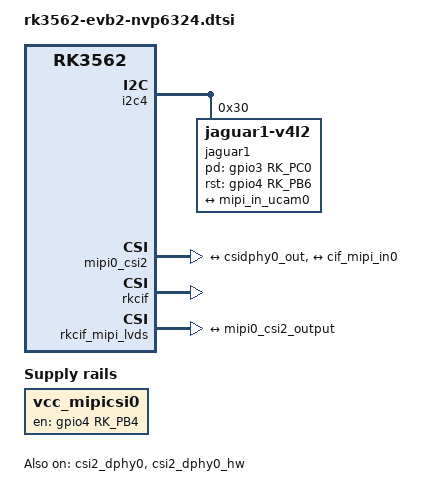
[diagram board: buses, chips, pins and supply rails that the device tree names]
// SPDX-License-Identifier: (GPL-2.0+ OR MIT)
/*
 * Copyright (c) 2023 Rockchip Electronics Co., Ltd.
 *
 */

/ {
	vcc_mipicsi0: vcc-mipicsi0-regulator {
		compatible = "regulator-fixed";
		gpio = <&gpio4 RK_PB4 GPIO_ACTIVE_HIGH>;
		pinctrl-names = "default";
		pinctrl-0 = <&mipicsi0_pwr>;
		regulator-name = "vcc_mipicsi0";
		enable-active-high;
		regulator-always-on;
		regulator-boot-on;
	};
};

&csi2_dphy0 {
	status = "okay";

	ports {
		#address-cells = <1>;
		#size-cells = <0>;
		port@0 {
			reg = <0>;
			#address-cells = <1>;
			#size-cells = <0>;

			mipi_in_ucam0: endpoint@1 {
				reg = <1>;
				remote-endpoint = <&n4_out>;
				data-lanes = <1 2 3 4>;
			};
		};
		port@1 {
			reg = <1>;
			#address-cells = <1>;
			#size-cells = <0>;

			csidphy0_out: endpoint@0 {
				reg = <0>;
				remote-endpoint = <&mipi0_csi2_input>;
			};
		};
	};
};

&i2c4 {
	status = "okay";

	jaguar1: jaguar1@30 {
		compatible = "jaguar1-v4l2";
		status = "okay";
		reg = <0x30>;
		clocks = <&cru CLK_CAM0_OUT2IO>;
		clock-names = "xvclk";
		pinctrl-names = "default";
		pinctrl-0 = <&camm0_clk0_out>;
		pd-gpios = <&gpio3 RK_PC0 GPIO_ACTIVE_HIGH>;
		rst-gpios = <&gpio4 RK_PB6 GPIO_ACTIVE_HIGH>;
		rockchip,camera-module-index = <0>;
		rockchip,camera-module-facing = "back";
		rockchip,camera-module-name = "jaguar1";
		rockchip,camera-module-lens-name = "jaguar1";
		rockchip,default_rect= <1920 1080>; // default resolution
		port {
			n4_out: endpoint {
				remote-endpoint = <&mipi_in_ucam0>;
				data-lanes = <1 2 3 4>;
			};
		};
	};
};

&csi2_dphy0_hw {
	status = "okay";
};

&mipi0_csi2 {
	status = "okay";

	ports {
		#address-cells = <1>;
		#size-cells = <0>;

		port@0 {
			reg = <0>;
			#address-cells = <1>;
			#size-cells = <0>;

			mipi0_csi2_input: endpoint@1 {
				reg = <1>;
				remote-endpoint = <&csidphy0_out>;
			};
		};

		port@1 {
			reg = <1>;
			#address-cells = <1>;
			#size-cells = <0>;

			mipi0_csi2_output: endpoint@0 {
				reg = <0>;
				remote-endpoint = <&cif_mipi_in0>;
			};
		};
	};
};

&rkcif {
	status = "okay";
	rockchip,android-usb-camerahal-enable;
};

&rkcif_mipi_lvds {
	status = "okay";

	port {
		cif_mipi_in0: endpoint {
			remote-endpoint = <&mipi0_csi2_output>;
		};
	};
};

&rkcif_mmu {
	status = "okay";
};

&pinctrl {
	cam {
		mipicsi0_pwr: mipicsi0-pwr {
			rockchip,pins =
				/* camera power en */
				<4 RK_PB4 RK_FUNC_GPIO &pcfg_pull_none>;
		};
	};
};

